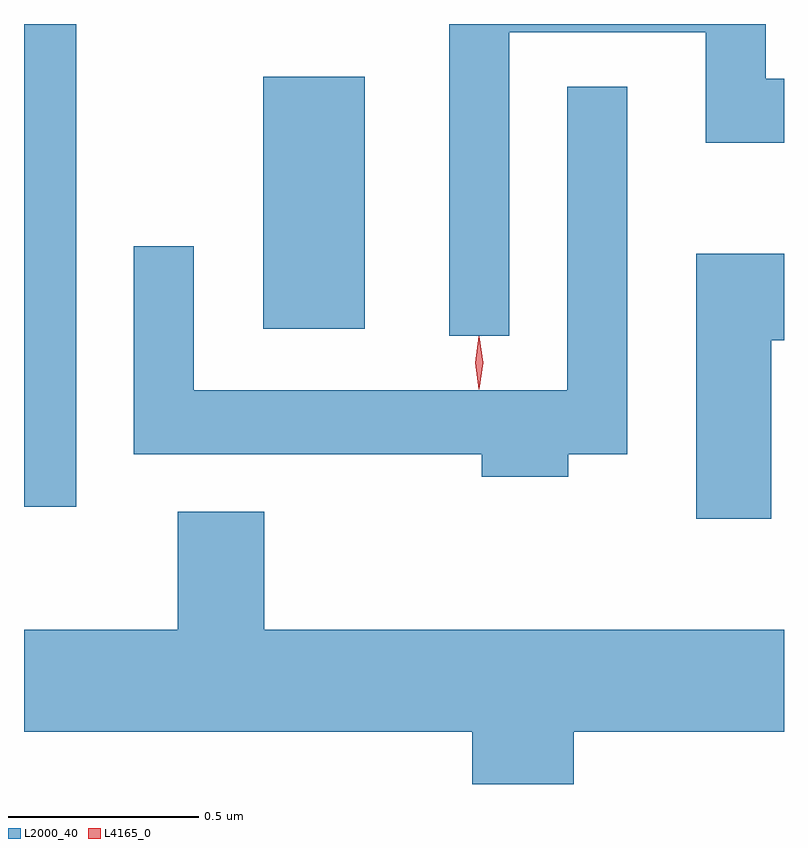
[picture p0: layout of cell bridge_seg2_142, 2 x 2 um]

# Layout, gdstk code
import gdstk
lib = gdstk.Library(unit=1e-6, precision=1e-09)
def R(c, l, rs):  # rectangles x0, y0, x1, y1
    for r in rs: c.add(gdstk.rectangle(r[:2], r[2:], *l))
def P(c, l, *ps):  # polygons
    for p in ps: c.add(gdstk.Polygon(p, *l))
L2000_40 = (2000, 40)
L4165_0 = (4165, 0)

bridge_seg2_142 = lib.new_cell('bridge_seg2_142')
R(bridge_seg2_142, L2000_40, [(993.117,1113.288,993.254,1114.558), (993.746,1113.756,994.014,1114.419)])
P(bridge_seg2_142, L2000_40, [(994.394,1114.536),(994.911,1114.536),(994.911,1114.246),(995.117,1114.246),(995.117,1114.414),(995.069,1114.414),(995.069,1114.558),(994.236,1114.558),(994.236,1113.738),(994.394,1113.738)],
  [(994.549,1113.426),(994.704,1113.426),(994.704,1114.393),(994.546,1114.393),(994.546,1113.594),(993.564,1113.594),(993.564,1113.973),(993.406,1113.973),(993.406,1113.426),(994.321,1113.426),(994.321,1113.366),(994.549,1113.366)],
  [(995.084,1113.726),(995.117,1113.726),(995.117,1113.954),(994.886,1113.954),(994.886,1113.256),(995.084,1113.256)],
  [(994.564,1112.696),(995.117,1112.696),(995.117,1112.964),(993.749,1112.964),(993.749,1113.274),(993.521,1113.274),(993.521,1112.964),(993.117,1112.964),(993.117,1112.696),(994.296,1112.696),(994.296,1112.558),(994.564,1112.558)])
P(bridge_seg2_142, L4165_0, [(994.314,1113.599),(994.314,1113.6),(994.304,1113.666),(994.314,1113.732),(994.314,1113.733),(994.315,1113.732),(994.324,1113.666),(994.315,1113.6)],
  [(994.314,1113.597),(994.305,1113.666),(994.314,1113.736),(994.315,1113.736),(994.315,1113.736),(994.325,1113.666),(994.315,1113.597),(994.315,1113.597)])

lib.write_gds('bridge_seg2_142.gds')
